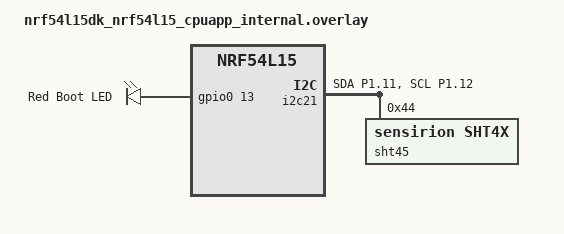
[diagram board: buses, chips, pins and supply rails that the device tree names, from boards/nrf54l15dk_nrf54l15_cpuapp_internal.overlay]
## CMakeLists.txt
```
cmake_minimum_required(VERSION 3.20.0)
list(APPEND BOARD_ROOT ${CMAKE_CURRENT_SOURCE_DIR}/..)
find_package(Zephyr HINTS $ENV{ZEPHYR_BASE})
project(hygrometer)
option(TIDY "Run clang-tidy during build" OFF)
if(TIDY)
  set_target_properties(app PROPERTIES
    C_CLANG_TIDY "clang-tidy"
    CXX_CLANG_TIDY "clang-tidy"
  )
endif()

# Define PINCTRL_STATE_OFF so the "off" pinctrl-names entry compiles.
# Must be visible to both our code and the I2C driver (which instantiates pinctrl).
zephyr_compile_definitions(PINCTRL_STATE_OFF=PINCTRL_STATE_PRIV_START)

target_include_directories(app PRIVATE src src/sensor)

# Shared sensor module (always built)
target_sources(app PRIVATE
  src/sensor/sensor_reading.cpp
)

# STCC4 CO2 sensor (2026v3 hardware)
target_sources_ifdef(CONFIG_STCC4_ENABLE app PRIVATE
  src/sensor/stcc4.cpp
)

# Leak sensor (2026v4 hardware)
target_sources_ifdef(CONFIG_APP_LEAK_SENSOR app PRIVATE
  src/sensor/leak.cpp
)

if(CONFIG_APP_USE_MATTER)
  include(${ZEPHYR_CONNECTEDHOMEIP_MODULE_DIR}/config/nrfconnect/app/enable-gnu-std.cmake)
  include(${ZEPHYR_NRF_MODULE_DIR}/samples/matter/common/cmake/source_common.cmake)
  include(${ZEPHYR_NRF_MODULE_DIR}/samples/matter/common/cmake/data_model.cmake)
  include(${ZEPHYR_NRF_MODULE_DIR}/samples/matter/common/cmake/zap_helpers.cmake)
  ncs_get_zap_parent_dir(ZAP_PARENT_DIR)
  target_include_directories(app PRIVATE ${ZAP_PARENT_DIR})
  target_sources(app PRIVATE
    src/matter/main.cpp
    src/matter/app_task.cpp
  )
  # CO2 recalibration via Mode Select cluster (2026v3 / STCC4 only).
  # zcl_callbacks.cpp provides the MatterPostAttributeChangeCallback override; on
  # v4 the SDK's weak no-op default is used instead.
  target_sources_ifdef(CONFIG_APP_MATTER_CO2 app PRIVATE
    src/matter/co2_mode_manager.cpp
    src/matter/zcl_callbacks.cpp
  )
  ncs_configure_data_model()
else()
  target_sources(app PRIVATE
    src/bthome/main.cpp
    src/bthome/led_svc.cpp
  )
  # CO2 forced-recalibration GATT service — only useful with an STCC4 present.
  target_sources_ifdef(CONFIG_STCC4_ENABLE app PRIVATE
    src/bthome/co2_cal_svc.cpp
  )
endif()
```

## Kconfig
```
config APP_MEASUREMENT_INTERVAL_SEC
	int "Measurement interval (seconds)"
	default 300
	help
	  Time between periodic measurements. Device sleeps between readings.

config APP_CO2_INTERVAL_DIVISOR
	int "Only fetch STCC4 every Nth measurement cycle"
	default 1
	range 1 60
	help
	  STCC4 CO2 read cadence. Last-known values are reused in the
	  advertisements between fetches.

config APP_CO2_REPORT_DURING_CALIBRATION
	bool "Report CO2 readings during recalibration / factory-reset warm-up (debug)"
	default n
	depends on STCC4_ENABLE
	help
	  Diagnostic: keep publishing CO2 during the maintenance phases that normally
	  report unavailable — the FRC recalibration warm-up (single-shot) and the
	  post-factory-reset continuous warm-up — so the readings can be watched as
	  they converge. Testing only.

config APP_CO2_RECAL_TARGET_PPM
	int "CO2 forced-recalibration target (ppm)"
	default 430
	range 350 600
	depends on STCC4_ENABLE
	help
	  Assumed outdoor-air CO2 concentration used as the FRC target by both the
	  Matter (Mode Select) and BTHome recalibration triggers. Any error here
	  biases every later reading by the same amount, so set it to the actual
	  clean outdoor air at your location. The default tracks the global average
	  (~430 ppm in 2026, rising ~2.5 ppm/yr); update it as the baseline drifts.
	  The BTHome characteristic can still override per-request with a 2-byte value.

config APP_CO2_WARMUP_MIN
	int "CO2 sensor warm-up after factory reset (minutes)"
	default 720
	range 0 1440
	depends on STCC4_ENABLE
	help
	  After a user-triggered STCC4 factory reset, run the sensor in continuous
	  measurement mode for this long to clear the bypass phase and reach accuracy
	  (datasheet §1.1.4: up to 12 h continuous). CO2 reads as unavailable during the
	  warm-up; it runs in the background (the Mode Select returns to Measure right
	  away). 0 disables the warm-up (conditioning only). Continuous mode draws
	  ~950 µA, so this is a one-time recovery cost, not the steady-state current.

config APP_PRESSURE_INTERVAL_DIVISOR
	int "Only fetch BME688 pressure every Nth measurement cycle"
	default 1
	range 1 360
	help
	  BME688 pressure read cadence, independent of STCC4. Cached pressure is
	  reused for STCC4 compensation and advertisements between fetches.

config SHT4X_ENABLE
	bool "Enable SHT4x sensor"
	default y
	select SENSOR
	help
	  Enable probing for and using temperature and humidity sensor, if hardware is present.

config SHT4X_USE_HEATER
	bool "Use the built-in heater on the SHT4x for increased accuracy at high RH levels"
	default n
	help
	  Maximum duty cycle for using the heater is 5%

config SHT4X_HEATER_HUMIDITY_THRESH
	int "RH [%] threshold above which the heater will be activated"
	range 0 99
	default 65
	depends on SHT4X_USE_HEATER

config SHT4X_HEATER_PULSE_POWER
	int "Heater Power Setting"
	range 0 2
	default 2
	depends on SHT4X_USE_HEATER
	help
	  0 -> High power heater pulse -> ~200 mW  @3.3V
	  1 -> Medium power heater pulse -> ~110 mW  @3.3V
	  2 -> Low power heater pulse -> ~20 mW  @3.3V

config SHT4X_HEATER_LONG_PULSE_DURATION
	bool "Use long pulse duration Heater setting"
	default y
	depends on SHT4X_USE_HEATER
	help
	  Say 'Y' if you want to use the long pulse duration setting. This sets the pulse time to
	  1.1s. Say 'N' if you want to use the short pulse duration setting, which sets the pulse
	  time to 0.11s.

config BME688_ENABLE
	bool "Enable BME688 sensor"
	default y
	select SENSOR
	help
	  Enable probing for and using pressure and gas sensor, if hardware is present.

config STCC4_ENABLE
	bool "Enable STCC4 sensor"
	default y
	select SENSOR
	help
	  Enable probing for and using CO2 sensor, if hardware is present.

config APP_LEAK_SENSOR
	bool "Enable resistive water-leak sensor"
	default n
	select GPIO
	select ADC
	help
	  Drive/sense a resistive leak sensor (2026v4 hardware). Requires a
	  "local,leak-sensor" node in devicetree. A strong (low-resistance) wet
	  bridge across the electrodes triggers a GPIO interrupt that wakes the
	  device immediately; every measurement cycle also samples the sense
	  divider with the SAADC so a software threshold can catch high-resistance
	  (damp, ~1 MΩ) conditions the digital edge misses.

config APP_LEAK_THRESHOLD_MV
	int "Leak sense trip threshold (mV)"
	default 1200
	depends on APP_LEAK_SENSOR
	help
	  The sense node is a divider:
	    V_sense = V_drive * R3 / (R1 + R2 + R_water + R3)
	  with R1 = R2 = 10 kΩ, R3 = 1 MΩ. At V_drive ≈ 3.0 V (the GPIO drive ≈
	  the CR2 supply), a dry/open gap sits near 0 V, 1 MΩ of water gives
	  ≈ 1.49 V and 1.5 MΩ gives ≈ 1.20 V. The sensor reports WET when the
	  sampled sense voltage is at or above this many millivolts; the 1200 mV
	  default trips at R_water ≈ 1.5 MΩ, comfortably covering the 1 MΩ target.
	  Lower = more sensitive (detects higher water resistance) but closer to
	  the dry-state noise floor. Confirm against bench measurements.

config APP_BUZZER
	bool "Enable leak buzzer/siren output"
	default n
	depends on APP_LEAK_SENSOR
	help
	  Drive the buzzer/siren (2026v4 P2.05) on leak detection. Not yet
	  implemented — reserved for a future audible-alarm feature.

config APP_USE_MATTER
	bool "Use Matter/Thread instead of BTHome BLE"
	default n
	help
	  Build the Matter end-device variant.

# Advertised BLE name, selected by board revision so it matches the product identity
# (the @2026v4 leak board sets APP_LEAK_SENSOR). Applies to both the BTHome and Matter
# variants. BT_DEVICE_NAME is a Zephyr symbol (sourced via Kconfig.zephyr below); our
# default is parsed first and wins, as long as no .conf hard-assigns it.
config BT_DEVICE_NAME
	default "Leak Detector" if APP_LEAK_SENSOR
	default "Hygrometer"

if APP_USE_MATTER

# Per-board-revision data model: each flag gates the matching cluster in both the app
# code and the selected .zap (see prj_extra_matter_v{3,4}.conf). Temperature, humidity
# and battery (Power Source) are present on every revision, so they have no flag.

config APP_MATTER_PRESSURE
	bool "Expose BME688 pressure over Matter (PressureMeasurement)"
	default y if BME688_ENABLE
	help
	  Set for boards with a BME688 (2026v3). The v3 data model includes the
	  Pressure Measurement cluster on endpoint 1. Defaults on when the BME688 is
	  enabled (off on @2026v4, which disables BME688_ENABLE).

config APP_MATTER_CO2
	bool "Expose STCC4 CO2 over Matter (CarbonDioxideConcentrationMeasurement)"
	default y if STCC4_ENABLE
	help
	  Set for boards with an STCC4 (2026v3). Gates the CO2 concentration cluster
	  instance; must match the selected .zap or cluster registration fails at init.
	  Keyed off STCC4_ENABLE (STCC4 has no DT node — it is raw I2C on the BME688
	  bus), which @2026v4 disables, so this tracks the selected v3/v4 zap.

config APP_MATTER_LEAK
	bool "Expose water leak over Matter (Boolean State / Water Leak Detector)"
	default y if APP_LEAK_SENSOR
	depends on APP_LEAK_SENSOR
	help
	  Set for boards with the resistive leak sensor (2026v4). The v4 data model
	  adds a Water Leak Detector endpoint (Boolean State); a leak is reported
	  immediately via the leak-sensor interrupt. APP_LEAK_SENSOR (set only by the
	  @2026v4 board) selects the leak variant.

config APP_MATTER_BATTERY_PERCENT
	bool "Expose battery percentage over Matter (Power Source BatPercentRemaining)"
	default y if $(dt_nodelabel_enabled,npm2100_vbat)
	help
	  Set for boards with a real fuel gauge (nPM2100, 2026v3) where a charge
	  percentage is meaningful. Boards on a flat CR2 curve (2026v4) report only
	  the coarse BatChargeLevel and omit this attribute from their data model.

choice OPENTHREAD_NORDIC_LIBRARY_CONFIGURATION
	default OPENTHREAD_NORDIC_LIBRARY_MTD
endchoice

choice OPENTHREAD_DEVICE_TYPE
	default OPENTHREAD_MTD
endchoice

config CHIP_ENABLE_ICD_SUPPORT
	default y

config CHIP_ICD_LIT_SUPPORT
	default y

config CHIP_ICD_REPORT_ON_ACTIVE_MODE
	default y

# Reduce Thread TX output power to 0 dBm for SED device
config OPENTHREAD_DEFAULT_TX_POWER
	default 0

# Per-revision Matter identity + data model, selected by the board. The @2026v4 board
# sets APP_LEAK_SENSOR, flipping everything to the leak (v4) variant; every other board
# builds the air-quality (v3) variant. Both PIDs sit inside the built-in test CD's
# 0x8000-0x8063 range, so no certificate work is needed. NCS defines these symbols in the
# Kconfigs sourced below; our defaults are parsed first and therefore take priority.
config CHIP_DEVICE_PRODUCT_ID
	default 32781 if APP_LEAK_SENSOR
	default 32780

config CHIP_DEVICE_PRODUCT_NAME
	default "Water Leak Sensor" if APP_LEAK_SENSOR
	default "Hygrometer"

config NCS_SAMPLE_MATTER_ZAP_FILE_PATH
	default "${APPLICATION_CONFIG_DIR}/src/default_zap/v4/hygrometer.zap" if APP_LEAK_SENSOR
	default "${APPLICATION_CONFIG_DIR}/src/default_zap/v3/hygrometer.zap"

source "$(ZEPHYR_CONNECTEDHOMEIP_MODULE_DIR)/config/nrfconnect/chip-module/Kconfig.features"
source "$(ZEPHYR_CONNECTEDHOMEIP_MODULE_DIR)/config/nrfconnect/chip-module/Kconfig.defaults"
source "$(ZEPHYR_NRF_MODULE_DIR)/samples/matter/common/src/Kconfig"

endif # APP_USE_MATTER

source "Kconfig.zephyr"
```

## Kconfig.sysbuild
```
#### Bootloader
choice BOOTLOADER
	default BOOTLOADER_MCUBOOT
endchoice

if BOOTLOADER_MCUBOOT

# MCUboot padding size
config PM_MCUBOOT_PAD
	default 0x800

endif # BOOTLOADER_MCUBOOT

source "share/sysbuild/Kconfig"
```

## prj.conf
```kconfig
# Application features
CONFIG_APP_MEASUREMENT_INTERVAL_SEC=10

# BLE
CONFIG_BT=y
# CONFIG_BT_DEVICE_NAME is selected per board revision in Kconfig (see BT_DEVICE_NAME).
CONFIG_BT_PERIPHERAL=y

# PMIC support (nPM2100 on hygrometer board, nPM1304 on devkit)
CONFIG_MFD=y
CONFIG_WATCHDOG=y
CONFIG_REGULATOR=y
CONFIG_NRF_FUEL_GAUGE=y

# Enable sensors and I2C bus
CONFIG_SENSOR=y
CONFIG_GPIO=y
CONFIG_I2C=y
CONFIG_PINCTRL=y
CONFIG_PINCTRL_DYNAMIC=y
CONFIG_SHT4X=y
CONFIG_SHT4X_USE_HEATER=n
CONFIG_FPU=y

# GRTC timer
CONFIG_NRF_GRTC_TIMER=y

# Suspend devices when the CPU goes into sleep
CONFIG_PM=y
CONFIG_PM_DEVICE=y
CONFIG_PM_DEVICE_RUNTIME=y

# Power down unused SRAM sections
CONFIG_RAM_POWER_DOWN_LIBRARY=y

# Safety
CONFIG_MPU_STACK_GUARD=y

# Memory footprint
CONFIG_HEAP_MEM_POOL_SIZE=1024
CONFIG_IDLE_STACK_SIZE=256

# MCUmgr OTA DFU over BLE
CONFIG_MCUMGR=y
CONFIG_MCUMGR_TRANSPORT_BT=y
CONFIG_MCUMGR_TRANSPORT_BT_REASSEMBLY=y
CONFIG_BT_L2CAP_TX_MTU=247
CONFIG_BT_BUF_ACL_TX_SIZE=251
CONFIG_BT_BUF_ACL_RX_SIZE=251
CONFIG_MCUMGR_GRP_IMG=y
CONFIG_MCUMGR_GRP_OS=y
CONFIG_MCUMGR_GRP_OS_BOOTLOADER_INFO=y
CONFIG_IMG_MANAGER=y
CONFIG_IMG_ERASE_PROGRESSIVELY=y
CONFIG_STREAM_FLASH=y
CONFIG_FLASH=y
CONFIG_FLASH_MAP=y
CONFIG_CRC=y
CONFIG_NET_BUF=y
CONFIG_ZCBOR=y
CONFIG_BOOTLOADER_MCUBOOT=y

# Stacks
CONFIG_MAIN_STACK_SIZE=4096
CONFIG_SYSTEM_WORKQUEUE_STACK_SIZE=2048

# Reduce image size
CONFIG_SIZE_OPTIMIZATIONS=y
CONFIG_LTO=y
CONFIG_ISR_TABLES_LOCAL_DECLARATION=y
```

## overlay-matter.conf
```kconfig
# nRF54 Humidity Sensor — Matter/Thread build
# Activated via: -DFILE_SUFFIX=matter

CONFIG_APP_USE_MATTER=y

# Enable CHIP (Matter)
CONFIG_CHIP=y
CONFIG_CHIP_PROJECT_CONFIG="src/matter/chip_project_config.h"
CONFIG_CHIP_DEVICE_PRODUCT_NAME="Hygrometer"
CONFIG_NCS_SAMPLE_MATTER_ZAP_FILE_PATH="${APPLICATION_CONFIG_DIR}/src/default_zap/hygrometer.zap"
CONFIG_CHIP_DEVICE_PRODUCT_ID=32781
CONFIG_STD_CPP17=y

# Enable Matter pairing automatically on application start.
CONFIG_CHIP_ENABLE_PAIRING_AUTOSTART=y

# BLE advertising duration (minutes, max 15 without extended advertising)
CONFIG_CHIP_BLE_ADVERTISING_DURATION=15

# Bluetooth Low Energy configuration
CONFIG_BT_DEVICE_NAME="Hygrometer"
CONFIG_BT_DEVICE_NAME_MAX=18

# Reduce application size
CONFIG_CHIP_NFC_ONBOARDING_PAYLOAD=n

# Enable Factory Data feature
CONFIG_CHIP_FACTORY_DATA=y
CONFIG_CHIP_FACTORY_DATA_BUILD=y

# MCUboot (required for Matter OTA)
CONFIG_BOOTLOADER_MCUBOOT=y
CONFIG_FLASH=y
CONFIG_FLASH_MAP=y
CONFIG_NET_BUF=y

# Stack sizes for Matter
CONFIG_MAIN_STACK_SIZE=8192
CONFIG_SYSTEM_WORKQUEUE_STACK_SIZE=4096
CONFIG_HEAP_MEM_POOL_SIZE=16384
```

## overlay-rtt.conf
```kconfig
# RTT logging
# Usage: west build ... --extra-conf overlay-rtt.conf
CONFIG_USE_SEGGER_RTT=y
CONFIG_RTT_CONSOLE=y
CONFIG_CONSOLE=y
CONFIG_UART_CONSOLE=n

CONFIG_LOG=y
CONFIG_LOG_MODE_DEFERRED=y
CONFIG_LOG_PROCESS_THREAD_SLEEP_MS=10
CONFIG_LOG_BUFFER_SIZE=4096
CONFIG_SEGGER_RTT_BUFFER_SIZE_UP=4096
CONFIG_LOG_BACKEND_RTT=y

# Shell over RTT
CONFIG_SHELL=y
CONFIG_SHELL_BACKEND_RTT=y
CONFIG_SHELL_BACKEND_RTT_BUFFER=1
CONFIG_SHELL_BACKEND_SERIAL=n
```

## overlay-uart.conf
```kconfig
# Usage: west build ... --extra-conf overlay-uart.conf

# Console for debugging
CONFIG_CONSOLE=y
CONFIG_UART_CONSOLE=y

# Configure UART async logging and shell
CONFIG_LOG=y
CONFIG_LOG_MODE_DEFERRED=y
CONFIG_LOG_PROCESS_THREAD_STACK_SIZE=1024
CONFIG_LOG_BUFFER_SIZE=4096
CONFIG_LOG_FUNC_NAME_PREFIX_DBG=n
CONFIG_SHELL=y
CONFIG_SHELL_LOG_BACKEND=y
```

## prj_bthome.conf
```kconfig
# nRF54 Humidity Sensor — BTHome build
# Activated via: -DFILE_SUFFIX=bthome
```

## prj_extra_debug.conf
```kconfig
# Kconfig overlay for debug build with extra stuff
# Usage: west build -- -DEXTRA_CONF_FILE=prj_extra_debug.conf

# Application features

CONFIG_APP_CO2_REPORT_DURING_CALIBRATION=y
CONFIG_BME688_ENABLE=n
```

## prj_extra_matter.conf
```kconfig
# Kconfig overlay for Matter over Thread (replaces default of BTHome)
# Usage: west build -- -DEXTRA_CONF_FILE=prj_extra_matter.conf -DSB_EXTRA_CONF_FILE=sysbuild_extra_matter.conf

CONFIG_APP_USE_MATTER=y

# Enable CHIP (Matter)
CONFIG_CHIP=y
CONFIG_CHIP_FACTORY_DATA=y
CONFIG_CHIP_PROJECT_CONFIG="src/matter/chip_project_config.h"
# Product identity (CONFIG_CHIP_DEVICE_PRODUCT_ID / _PRODUCT_NAME) and the data model
# (CONFIG_NCS_SAMPLE_MATTER_ZAP_FILE_PATH) are selected automatically per board revision
# in the Kconfig

CONFIG_STD_CPP17=y

# Enable Matter pairing automatically on application start.
CONFIG_CHIP_ENABLE_PAIRING_AUTOSTART=y

# Button and LED support (2026v3 has the user button and red LED; 2026v4 has
# neither — its overlay disables &leds, so LED calls are harmless no-ops there).
# Without this the NCS Matter board layer compiles to a stub: no factory reset
# via button hold and no LED control. Default button behavior: short tap starts
# commissioning advertising when not yet commissioned; ~6s hold factory resets
# (red LED warns from ~3s, release to cancel).
CONFIG_DK_LIBRARY=y

# BLE advertising duration (minutes, max 15 without extended advertising)
CONFIG_CHIP_BLE_ADVERTISING_DURATION=15

# Reduce application size
CONFIG_CHIP_NFC_ONBOARDING_PAYLOAD=n

# Stack sizes for Matter
CONFIG_MAIN_STACK_SIZE=8192
CONFIG_SYSTEM_WORKQUEUE_STACK_SIZE=4096
CONFIG_HEAP_MEM_POOL_SIZE=16384
```

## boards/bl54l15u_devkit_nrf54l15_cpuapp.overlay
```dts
#include <dt-bindings/regulator/npm13xx.h>

/* Enable LDO1 in load switch mode at boot to power the Qwiic J1 connector */
&npm1304_ldo1 {
    regulator-boot-on;
    regulator-initial-mode = <NPM13XX_LDSW_MODE_LDSW>;
};

&i2c21 {
    status = "okay";

    sht4x: sht4x@44 {
        compatible = "sensirion,sht4x";
        reg = <0x44>;
        repeatability = <2>;
        status = "okay";
    };
};
```

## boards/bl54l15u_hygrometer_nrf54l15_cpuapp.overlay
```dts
#include <dt-bindings/regulator/npm2100.h>

/ {
	aliases {
		boot-led = &red_led;
	};

	/* Matter's DK button library requires a /buttons gpio-keys node. The v4
	 * board has no user button, so keep an empty node here (applies to every
	 * revision); the 2026v3 board overlay adds the actual P0.04 button as the
	 * first child (DK_BTN1). */
	buttons {
		compatible = "gpio-keys";
	};
};

/* Enable LDOSW in load-switch mode at boot so I2C20 sensors (BME688/STCC4) are
 * powered for probing. sensor_init() disables it if no sensors are detected.
 * Use ULP mode, the default high-power mode can burn 2mA+ even with no load. */
&npm2100_ldsw {
	regulator-boot-on;
	regulator-initial-mode = < (NPM2100_REG_LDSW_EN | NPM2100_REG_OPER_ULP) >;
};

/* Enable Bluetooth */
&bt_hci_controller {
	status = "okay";
};
```

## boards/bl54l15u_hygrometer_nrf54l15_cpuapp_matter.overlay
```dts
#include <dt-bindings/regulator/npm2100.h>

/ {
	aliases {
		boot-led = &red_led;
	};

	/* Matter DK_LIBRARY requires a buttons node with gpio-keys compatible.
	 * The hygrometer has no GPIO buttons (SHPHLD is PMIC-level), so provide
	 * an empty node to satisfy the build. */
	buttons {
		compatible = "gpio-keys";
	};
};


/* Enable load switch mode at boot to power the BME688/STCC4/Qwiic connector */
&npm2100_ldsw {
    regulator-boot-on;
    regulator-initial-mode = < NPM2100_REG_LDSW_EN >;
};
```

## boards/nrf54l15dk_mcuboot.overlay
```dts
/*
 * MCUboot image: the same flash map as the application. The stock DK ships a 64 KiB
 * boot_partition, which MCUboot's nRF54L FPROTECT rejects (>62 KiB;
 * bootloader/mcuboot/boot/zephyr/main.c). Our custom boards bake this layout into their
 * board DTS so their MCUboot image inherits it; the stock DK gets it here, wired in for
 * this board only by sysbuild.cmake. The dtsi sets the RRAM size and drops the stock
 * partitions itself.
 */
#include "../../boards/local/bl54l15u_partitions.dtsi"
```

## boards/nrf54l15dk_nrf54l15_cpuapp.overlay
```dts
/* Stock nrf54l15dk: app peripherals; the partition + full-RRAM map comes from
 * bl54l15u_partitions.dtsi (MCUboot gets the same file via sysbuild.cmake). */
#include "../../boards/local/bl54l15u_partitions.dtsi"

/* Reclaim the SRAM the stock DK reserves for FLRP (RRAM is reclaimed in the dtsi). */
&cpuapp_sram {
	reg = <0x20000000 DT_SIZE_K(256)>;
	ranges = <0x0 0x20000000 0x40000>;
};

/* I2C for SHT4x humidity/temperature sensor */
&i2c21 {
	status = "okay";
	pinctrl-0 = <&i2c21_default>;
	pinctrl-1 = <&i2c21_sleep>;
	pinctrl-names = "default", "sleep";

	sht4x: sht4x@44 {
		compatible = "sensirion,sht4x";
		reg = <0x44>;
		repeatability = <2>;
		status = "okay";
	};
};

&pinctrl {
	i2c21_default: i2c21_default {
		group1 {
			psels = <NRF_PSEL(TWIM_SDA, 1, 11)>, <NRF_PSEL(TWIM_SCL, 1, 12)>;
			bias-pull-up;
		};
	};

	i2c21_sleep: i2c21_sleep {
		group1 {
			psels = <NRF_PSEL(TWIM_SDA, 1, 11)>, <NRF_PSEL(TWIM_SCL, 1, 12)>;
			low-power-enable;
		};
	};
};

/* Keep UART20 for console (it's the default console) */
&uart20 {
	status = "okay";
	current-speed = <115200>;
};

/* Disable unused peripherals to save power */
&uart21 {
	status = "disabled";
};

&uart22 {
	status = "disabled";
};

&uart30 {
	status = "disabled";
};
```

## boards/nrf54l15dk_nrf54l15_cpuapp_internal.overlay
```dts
/* Internal flash overlay for nRF54L15 DK */
/* For release builds, add nrf54l15dk_nrf54l15_cpuapp_release.overlay to disable UART */

/* I2C for SHT45 humidity/temperature sensor */
&i2c21 {
	status = "okay";
	pinctrl-0 = <&i2c21_default>;
	pinctrl-1 = <&i2c21_sleep>;
	pinctrl-names = "default", "sleep";

	sht45: sht4x@44 {
		compatible = "sensirion,sht4x";
		reg = <0x44>;
		repeatability = <2>;
		status = "okay";
	};
};

&pinctrl {
	i2c21_default: i2c21_default {
		group1 {
			psels = <NRF_PSEL(TWIM_SDA, 1, 11)>, <NRF_PSEL(TWIM_SCL, 1, 12)>;
			bias-pull-up;
		};
	};

	i2c21_sleep: i2c21_sleep {
		group1 {
			psels = <NRF_PSEL(TWIM_SDA, 1, 11)>, <NRF_PSEL(TWIM_SCL, 1, 12)>;
			low-power-enable;
		};
	};
};

/* UART20 enabled for debug builds - release.overlay disables it */

/* Disable unused UARTs */
&uart21 {
	status = "disabled";
};

&uart22 {
	status = "disabled";
};

&uart30 {
	status = "disabled";
};

/* Disable SPI00 and external flash - using internal RRAM */
&spi00 {
	status = "disabled";
};

/* Disable NFC - not needed */
&nfct {
	status = "disabled";
};

/* Disable ADC - not needed */
&adc {
	status = "disabled";
};

/* Disable PWM - not needed */
&pwm20 {
	status = "disabled";
};

/* Disable buttons - the internal pull-ups draw current */
/ {
	buttons {
		status = "disabled";
	};
	leds {
		status = "disabled";
	};
};

/* Boot status RED LED on P0.13 (active high) */
/ {
	boot_led: boot_led {
		compatible = "gpio-leds";
		red_led: red_led {
			gpios = <&gpio0 13 GPIO_ACTIVE_HIGH>;
			label = "Red Boot LED";
		};
	};

	aliases {
		boot-led = &red_led;
	};
};

// restore full RRAM and SRAM space - by default some parts are dedicated to FLRP
&cpuapp_rram {
	reg = <0x0 DT_SIZE_K(1524)>;
};

&cpuapp_sram {
	reg = <0x20000000 DT_SIZE_K(256)>;
	ranges = <0x0 0x20000000  0x40000>;
};

// Disable external flash
&mx25r64 {
	status = "disabled";
};
```

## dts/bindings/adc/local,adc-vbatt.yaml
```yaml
description: |
  Battery-voltage source measured directly by an ADC channel (no PMIC fuel
  gauge). Points at a single ADC io-channel; the firmware converts the sampled
  voltage to a state-of-charge estimate.

compatible: "local,adc-vbatt"

include: base.yaml

properties:
  io-channels:
    type: phandle-array
    required: true
    description: ADC channel that measures the battery/supply voltage.
```

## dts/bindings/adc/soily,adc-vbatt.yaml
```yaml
description: |
  Battery-voltage source measured directly by an ADC channel (no PMIC fuel
  gauge). Points at a single ADC io-channel; the firmware converts the sampled
  voltage to a state-of-charge estimate.

compatible: "soily,adc-vbatt"

include: base.yaml

properties:
  io-channels:
    type: phandle-array
    required: true
    description: ADC channel that measures the battery/supply voltage.
```

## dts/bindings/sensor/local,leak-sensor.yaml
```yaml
description: |
  Resistive water-leak sensor.

  Two electrodes separated by a gap. One is driven high (drive-gpios) and the
  other (sense-gpios) is read back through a pull-down: water bridging the gap
  raises the sense line. The sense GPIO supports interrupts so the device can
  wake immediately when a strong (low-resistance) leak appears.

  The same sense node is also wired to an SAADC channel (io-channels) so the
  firmware can sample its analog voltage and apply a software threshold, which
  resolves high-resistance (damp, ~1 MΩ) leaks that fall below the digital GPIO
  high threshold.

compatible: "local,leak-sensor"

properties:
  drive-gpios:
    type: phandle-array
    required: true
    description: Output that energises the leak electrode.

  sense-gpios:
    type: phandle-array
    required: true
    description: Input read across the water gap (pull-down when dry).

  io-channels:
    type: phandle-array
    required: true
    description: SAADC channel sampling the sense divider (analog leak level).
```

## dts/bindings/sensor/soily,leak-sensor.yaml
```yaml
description: |
  Resistive water-leak sensor.

  Two electrodes separated by a gap. One is driven high (drive-gpios) and the
  other (sense-gpios) is read back through a pull-down: water bridging the gap
  raises the sense line. The sense GPIO supports interrupts so the device can
  wake immediately when a strong (low-resistance) leak appears.

  The same sense node is also wired to an SAADC channel (io-channels) so the
  firmware can sample its analog voltage and apply a software threshold, which
  resolves high-resistance (damp, ~1 MΩ) leaks that fall below the digital GPIO
  high threshold.

compatible: "soily,leak-sensor"

properties:
  drive-gpios:
    type: phandle-array
    required: true
    description: Output that energises the leak electrode.

  sense-gpios:
    type: phandle-array
    required: true
    description: Input read across the water gap (pull-down when dry).

  io-channels:
    type: phandle-array
    required: true
    description: SAADC channel sampling the sense divider (analog leak level).
```

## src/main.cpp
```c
// Hygrometer firmware
//
// Supports both BL54L15u Hygrometer and BL54L15u DevKit boards.
// Reads SHT45 (temp/humidity), optional BME688 (pressure), optional STCC4 (CO2).
//
// Simple loop architecture: always-on, always connectable, sleeps between readings.

#include <zephyr/device.h>
#include <zephyr/drivers/watchdog.h>
#include <zephyr/drivers/i2c.h>
#include <zephyr/drivers/sensor.h>
#include <zephyr/init.h>

#include <zephyr/bluetooth/bluetooth.h>
#include <zephyr/bluetooth/conn.h>
#include <zephyr/bluetooth/uuid.h>

#if DT_NODE_HAS_STATUS(DT_NODELABEL(npm1304_charger), okay)
#include <zephyr/drivers/sensor/npm13xx_charger.h>
#include <zephyr/drivers/mfd/npm13xx.h>
#endif

#include <zephyr/logging/log.h>

#if IS_ENABLED(CONFIG_NRF_FUEL_GAUGE)
#include <nrf_fuel_gauge.h>
#endif

#include "bthome.h"
#include "sht4x.h"
#include "stcc4.h"

LOG_MODULE_REGISTER(app, LOG_LEVEL_INF);

/* Select PMIC watchdog based on which board is active */
#if DT_NODE_HAS_STATUS(DT_NODELABEL(npm2100_wdt), okay)
#define PMIC_WDT_NODE DT_NODELABEL(npm2100_wdt)
#define PMIC_NAME     "nPM2100"
#elif DT_NODE_HAS_STATUS(DT_NODELABEL(npm1304_wdt), okay)
#define PMIC_WDT_NODE DT_NODELABEL(npm1304_wdt)
#define PMIC_NAME     "nPM1304"
#endif

/* SMP service UUID (8d53dc1d-1db7-4cd3-868b-8a527460aa84) in little-endian */
#define SMP_SVC_UUID_BYTES                                                                         \
	0x84, 0xaa, 0x60, 0x74, 0x52, 0x8a, 0x8b, 0x86, 0xd3, 0x4c, 0xb7, 0x1d, 0x1d, 0xdc, 0x53,  \
		0x8d

/* Connectable advertising parameters */
#define ADV_PARAM_CONN                                                                             \
	BT_LE_ADV_PARAM(BT_LE_ADV_OPT_USE_IDENTITY | BT_LE_ADV_OPT_CONN,                           \
			BT_GAP_PER_ADV_SLOW_INT_MIN, BT_GAP_PER_ADV_SLOW_INT_MAX, NULL)

static struct bt_data ad[] = {
	BT_DATA_BYTES(BT_DATA_FLAGS, BT_LE_AD_GENERAL | BT_LE_AD_NO_BREDR),
	BT_DATA(BT_DATA_NAME_COMPLETE, CONFIG_BT_DEVICE_NAME, sizeof(CONFIG_BT_DEVICE_NAME) - 1),
	BT_DATA(BT_DATA_SVC_DATA16, NULL, 0), /* len updated before adv */
};

/* Scan response — SMP service UUID for DFU */
static struct bt_data sd[] = {
	BT_DATA_BYTES(BT_DATA_UUID128_ALL, SMP_SVC_UUID_BYTES),
};

/* ---- Sensor availability flags ---- */
static bool have_bme688;
static bool have_stcc4;

/* ---- Device pointers ---- */
#if DT_NODE_HAS_STATUS(DT_NODELABEL(sht45), okay)
static const struct device *sht45 = DEVICE_DT_GET(DT_NODELABEL(sht45));
#endif

/* Optional sensor bus (i2c20 on hygrometer — carries BME688 + STCC4) */
#if DT_NODE_HAS_STATUS(DT_NODELABEL(bme688), okay)
#define HAVE_SENSOR_BUS 1
static const struct device *bme688_dev = DEVICE_DT_GET(DT_NODELABEL(bme688));
static const struct device *sensor_bus = DEVICE_DT_GET(DT_BUS(DT_NODELABEL(bme688)));
#else
#define HAVE_SENSOR_BUS 0
#endif

/* Battery voltage sources */
#if DT_NODE_HAS_STATUS(DT_NODELABEL(npm2100_vbat), okay)
static const struct device *vbat_dev = DEVICE_DT_GET(DT_NODELABEL(npm2100_vbat));
#define HAVE_VBAT 1
#elif DT_NODE_HAS_STATUS(DT_NODELABEL(npm1304_charger), okay)
static const struct device *vbat_dev = DEVICE_DT_GET(DT_NODELABEL(npm1304_charger));
#define HAVE_VBAT 1
#else
#define HAVE_VBAT 0
#endif

/* SHT45 I2C bus for direct heater commands */
#if DT_NODE_HAS_STATUS(DT_NODELABEL(sht45), okay)
static const struct device *sht45_bus = DEVICE_DT_GET(DT_BUS(DT_NODELABEL(sht45)));
#endif

/* ---- Fuel gauge state ---- */
#if IS_ENABLED(CONFIG_NRF_FUEL_GAUGE)

#if IS_ENABLED(CONFIG_NRF_FUEL_GAUGE_VARIANT_SECONDARY_CELL)
static const struct battery_model battery_model = {
#include "battery_model.inc"
};
#elif IS_ENABLED(CONFIG_NRF_FUEL_GAUGE_VARIANT_PRIMARY_CELL)
static const struct battery_model_primary battery_model_primary = {
#include <battery_models/primary_cell/2SAAA_Alkaline.inc>
};
#endif

static int64_t fg_ref_time;
static bool fg_initialized;
static float fg_last_soc;
static float fg_last_v = 3.0f; /* safe defaults for idle_set before first measurement */
static float fg_last_t = 25.0f;

#endif /* CONFIG_NRF_FUEL_GAUGE */

/* ---- Helper: convert sensor_value to raw SHT4x ticks ---- */
static uint16_t temp_to_raw_ticks(const struct sensor_value *val)
{
	/* raw = (T + 45) * 65535 / 175, where T is in °C */
	int64_t micro = (int64_t)val->val1 * 1000000 + val->val2;
	return (uint16_t)(((micro + 45000000LL) * 65535LL) / 175000000LL);
}

static uint16_t hum_to_raw_ticks(const struct sensor_value *val)
{
	/* raw = (RH + 6) * 65535 / 125, where RH is in % */
	int64_t micro = (int64_t)val->val1 * 1000000 + val->val2;
	int64_t raw = ((micro + 6000000LL) * 65535LL) / 125000000LL;
	if (raw < 0) {
		raw = 0;
	}
	if (raw > 65535) {
		raw = 65535;
	}
	return (uint16_t)raw;
}

/*
 * Fire SHT4x heater via direct I2C for decontamination.
 */
#if IS_ENABLED(CONFIG_SHT4X_USE_HEATER) && DT_NODE_HAS_STATUS(DT_NODELABEL(sht45), okay)
static void sht4x_heater_pulse(void)
{
	int power = CONFIG_SHT4X_HEATER_PULSE_POWER;
	int duration = IS_ENABLED(CONFIG_SHT4X_HEATER_LONG_PULSE_DURATION) ? 0 : 1;

	uint8_t cmd = sht4x_heater_cmd[power][duration];
	int ret = i2c_write(sht45_bus, &cmd, 1, SHT4X_I2C_ADDR);

	if (ret) {
		LOG_ERR("SHT4x heater cmd failed: %d", ret);
		return;
	}

	k_sleep(K_MSEC(sht4x_heater_total_wait_ms[duration]));

	uint8_t buf[6];

	for (int attempt = 0; attempt < 10; attempt++) {
		ret = i2c_read(sht45_bus, buf, sizeof(buf), SHT4X_I2C_ADDR);
		if (ret == 0) {
			break;
		}
		k_sleep(K_MSEC(10));
	}
	if (ret) {
		LOG_WRN("SHT4x heater readback failed: %d", ret);
		return;
	}

	if (sht4x_crc8(&buf[0], 2) == buf[2] && sht4x_crc8(&buf[3], 2) == buf[5]) {
		struct sensor_value t, h;
		uint16_t raw_t = ((uint16_t)buf[0] << 8) | buf[1];
		uint16_t raw_h = ((uint16_t)buf[3] << 8) | buf[4];

		sht4x_raw_to_temp(raw_t, &t);
		sht4x_raw_to_humidity(raw_h, &h);
		LOG_INF("SHT4x heater readback: T=%d.%02d°C RH=%d.%02d%%", t.val1, t.val2 / 10000,
			h.val1, h.val2 / 10000);
	}
}
#endif

/* ---- Fuel gauge charge state update (nPM1304 / secondary cell only) ---- */
#if IS_ENABLED(CONFIG_NRF_FUEL_GAUGE_VARIANT_SECONDARY_CELL) &&                                    \
	DT_NODE_HAS_STATUS(DT_NODELABEL(npm1304_charger), okay)
static void charge_status_inform(int32_t chg_status)
{
	union nrf_fuel_gauge_ext_state_info_data info;

	if (chg_status & BIT(1)) {
		info.charge_state = NRF_FUEL_GAUGE_CHARGE_STATE_COMPLETE;
	} else if (chg_status & BIT(2)) {
		info.charge_state = NRF_FUEL_GAUGE_CHARGE_STATE_TRICKLE;
	} else if (chg_status & BIT(3)) {
		info.charge_state = NRF_FUEL_GAUGE_CHARGE_STATE_CC;
	} else if (chg_status & BIT(4)) {
		info.charge_state = NRF_FUEL_GAUGE_CHARGE_STATE_CV;
	} else {
		info.charge_state = NRF_FUEL_GAUGE_CHARGE_STATE_IDLE;
	}
	nrf_fuel_gauge_ext_state_update(NRF_FUEL_GAUGE_EXT_STATE_INFO_CHARGE_STATE_CHANGE, &info);
}
#endif

/* ---- Probe optional sensors at boot ---- */
static void probe_optional_sensors(void)
{
#if HAVE_SENSOR_BUS
	if (device_is_ready(bme688_dev)) {
		have_bme688 = true;
		LOG_INF("BME688 detected");
	} else {
		LOG_INF("BME688 not present — skipping");
	}

	if (device_is_ready(sensor_bus)) {
		stcc4_wake(sensor_bus);
		if (stcc4_probe(sensor_bus)) {
			have_stcc4 = true;
			LOG_INF("STCC4 detected");
		} else {
			LOG_INF("STCC4 not present — skipping");
		}
	}
#endif
}

/* ---- Read battery voltage and update fuel gauge ---- */
static bool read_battery_voltage(struct sensor_value *voltage)
{
#if HAVE_VBAT
	if (!device_is_ready(vbat_dev)) {
		return false;
	}

	int ret = sensor_sample_fetch(vbat_dev);
	if (ret) {
		LOG_WRN("Battery voltage fetch failed: %d", ret);
		return false;
	}

	ret = sensor_channel_get(vbat_dev, SENSOR_CHAN_GAUGE_VOLTAGE, voltage);
	if (ret) {
		LOG_WRN("Battery voltage get failed: %d", ret);
		return false;
	}

#if IS_ENABLED(CONFIG_NRF_FUEL_GAUGE)
	if (fg_initialized) {
		struct sensor_value sv_temp;
		float v = (float)voltage->val1 + (float)voltage->val2 / 1000000.f;
		float t, i;

#if IS_ENABLED(CONFIG_NRF_FUEL_GAUGE_VARIANT_SECONDARY_CELL)
		sensor_channel_get(vbat_dev, SENSOR_CHAN_GAUGE_TEMP, &sv_temp);
		t = (float)sv_temp.val1 + (float)sv_temp.val2 / 1000000.f;

		struct sensor_value sv_current;
		sensor_channel_get(vbat_dev, SENSOR_CHAN_GAUGE_AVG_CURRENT, &sv_current);
		/* Negate: Zephyr negative=discharging → library positive=discharging */
		i = -((float)sv_current.val1 + (float)sv_current.val2 / 1000000.f);

		/* Update charge state on change */
		static int32_t prev_chg = -1;
		struct sensor_value sv_status;
		sensor_channel_get(vbat_dev,
				   (enum sensor_channel)SENSOR_CHAN_NPM13XX_CHARGER_STATUS,
				   &sv_status);
		if (sv_status.val1 != prev_chg) {
			prev_chg = sv_status.val1;
			charge_status_inform(sv_status.val1);
		}
#elif IS_ENABLED(CONFIG_NRF_FUEL_GAUGE_VARIANT_PRIMARY_CELL)
		sensor_channel_get(vbat_dev, SENSOR_CHAN_DIE_TEMP, &sv_temp);
		t = (float)sv_temp.val1 + (float)sv_temp.val2 / 1000000.f;
		/* No current measurement for primary cell; use fixed estimate */
		i = 5.0e-3f;
#endif

		float delta = (float)k_uptime_delta(&fg_ref_time) / 1000.f;
		fg_last_soc = nrf_fuel_gauge_process(v, i, t, delta, nullptr);
		fg_last_v = v;
		fg_last_t = t;
		LOG_INF("BAT_%: %d%%", (int)fg_last_soc);
	}
#endif /* CONFIG_NRF_FUEL_GAUGE */

	return true;
#else
	return false;
#endif
}

/* ---- Fuel gauge init ---- */
static void fuel_gauge_init(void)
{
#if IS_ENABLED(CONFIG_NRF_FUEL_GAUGE) && HAVE_VBAT
	if (!device_is_ready(vbat_dev)) {
		LOG_WRN("VBAT device not ready — fuel gauge skipped");
		return;
	}

	struct sensor_value sv;
	struct nrf_fuel_gauge_init_parameters fg_params = {
		.opt_params = nullptr,
		.state = nullptr,
	};

	sensor_sample_fetch(vbat_dev);

	sensor_channel_get(vbat_dev, SENSOR_CHAN_GAUGE_VOLTAGE, &sv);
	fg_params.v0 = (float)sv.val1 + (float)sv.val2 / 1000000.f;
	fg_last_v = fg_params.v0;

#if IS_ENABLED(CONFIG_NRF_FUEL_GAUGE_VARIANT_SECONDARY_CELL)
	fg_params.model = &battery_model;

	sensor_channel_get(vbat_dev, SENSOR_CHAN_GAUGE_TEMP, &sv);
	fg_params.t0 = (float)sv.val1 + (float)sv.val2 / 1000000.f;
	fg_last_t = fg_params.t0;

	sensor_channel_get(vbat_dev, SENSOR_CHAN_GAUGE_AVG_CURRENT, &sv);
	fg_params.i0 = -((float)sv.val1 + (float)sv.val2 / 1000000.f);

	struct sensor_value sv_cc;
	sensor_channel_get(vbat_dev, SENSOR_CHAN_GAUGE_DESIRED_CHARGING_CURRENT, &sv_cc);
	float max_current = (float)sv_cc.val1 + (float)sv_cc.val2 / 1000000.f;
#elif IS_ENABLED(CONFIG_NRF_FUEL_GAUGE_VARIANT_PRIMARY_CELL)
	fg_params.model_primary = &battery_model_primary;

	sensor_channel_get(vbat_dev, SENSOR_CHAN_DIE_TEMP, &sv);
	fg_params.t0 = (float)sv.val1 + (float)sv.val2 / 1000000.f;
	fg_last_t = fg_params.t0;

	fg_params.i0 = 0.0f;
#endif

	int fg_ret = nrf_fuel_gauge_init(&fg_params, nullptr);
	if (fg_ret < 0) {
		LOG_ERR("Fuel gauge init failed: %d", fg_ret);
		return;
	}

#if IS_ENABLED(CONFIG_NRF_FUEL_GAUGE_VARIANT_SECONDARY_CELL)
	union nrf_fuel_gauge_ext_state_info_data fg_info;

	fg_info.charge_current_limit = max_current;
	nrf_fuel_gauge_ext_state_update(NRF_FUEL_GAUGE_EXT_STATE_INFO_CHARGE_CURRENT_LIMIT,
					&fg_info);

	fg_info.charge_term_current = max_current / 10.f;
	nrf_fuel_gauge_ext_state_update(NRF_FUEL_GAUGE_EXT_STATE_INFO_TERM_CURRENT, &fg_info);
#endif

	fg_initialized = true;
	LOG_INF("Fuel gauge initialized (%s)", nrf_fuel_gauge_version);
	fg_ref_time = k_uptime_get();
#endif /* CONFIG_NRF_FUEL_GAUGE && HAVE_VBAT */
}

/* ---- Update BTHome advertisement data ---- */
static void update_advertisement(opt_i16 temperature_mC, opt_u16 humidity_mPct, opt_u32 pressure_Pa,
				 opt_u16 co2_ppm, opt_u8 bat_soc, opt_u16 bat_mV)
{
	bthome_update_service_data(temperature_mC, humidity_mPct, pressure_Pa, co2_ppm, bat_soc,
				   bat_mV);
	ad[2] = (struct bt_data)BT_DATA(BT_DATA_SVC_DATA16, service_data,
					(uint8_t)service_data_len);

	/* Push updated data to the BLE stack */
	bt_le_adv_update_data(ad, ARRAY_SIZE(ad), sd, ARRAY_SIZE(sd));
}

/* ---- BLE advertising via work queue ---- */
static struct k_work advertise_work;

static void advertise(struct k_work *work)
{
	int rc = bt_le_adv_start(ADV_PARAM_CONN, ad, ARRAY_SIZE(ad), sd, ARRAY_SIZE(sd));
	if (rc) {
		LOG_ERR("Advertising failed to start (rc %d)", rc);
		return;
	}
	LOG_INF("Advertising started");
}

static void bt_ready(int err)
{
	if (err) {
		LOG_ERR("Bluetooth init failed: %d", err);
		return;
	}
	k_work_submit(&advertise_work);
}

/* ---- BLE connection callbacks ---- */
static void connected(struct bt_conn *conn, uint8_t err)
{
	LOG_DBG("Connected");
}

static void disconnected(struct bt_conn *conn, uint8_t reason)
{
	LOG_DBG("Disconnected (reason %u)", reason);
}

static void recycled(void)
{
	LOG_DBG("BLE connection recycled");
	k_work_submit(&advertise_work);
}

BT_CONN_CB_DEFINE(conn_cbs) = {
	.connected = connected,
	.disconnected = disconnected,
	.recycled = recycled,
};

int main()
{
	printk("\n\n=== Hygrometer ===\n");
#ifdef PMIC_NAME
	printk("PMIC: " PMIC_NAME "\n");
#endif

#if DT_NODE_HAS_STATUS(DT_NODELABEL(npm1304_pmic), okay)
	/* Set POF threshold to 3.1V for battery protection */
	const struct device *pmic = DEVICE_DT_GET(DT_NODELABEL(npm1304_pmic));
	if (device_is_ready(pmic)) {
		int ret = mfd_npm13xx_reg_write(pmic, 0x01, 0x06, 0x05);
		if (ret == 0) {
			LOG_INF("POF threshold set to 3.1V");
		} else {
			LOG_WRN("Failed to set POF threshold: %d", ret);
		}
	}
#endif

	/* Check PMIC watchdog */
#ifdef PMIC_WDT_NODE
	const struct device *wdt = DEVICE_DT_GET_OR_NULL(PMIC_WDT_NODE);
	if (wdt == nullptr) {
		LOG_ERR(PMIC_NAME " WDT not found in devicetree!");
	} else if (!device_is_ready(wdt)) {
		LOG_ERR(PMIC_NAME " WDT not ready — I2C issue?");
	} else {
		LOG_INF(PMIC_NAME " WDT ready");
	}
#endif

	probe_optional_sensors();
	fuel_gauge_init();

	/* Start BLE advertising */
	k_work_init(&advertise_work, advertise);
	update_advertisement(opt_i16_none(), opt_u16_none(), opt_u32_none(), opt_u16_none(),
			     opt_u8_none(), opt_u16_none());
	int err = bt_enable(bt_ready);
	if (err) {
		LOG_ERR("Bluetooth init failed (err %d)", err);
		return -1;
	}

	while (true) {
		opt_i16 temperature_mC;
		opt_u16 temperature_ticks;
		opt_u16 humidity_mPct;
		opt_u16 humidity_ticks;
		opt_u32 pressure_Pa;
		opt_u16 co2_ppm;
		opt_u8 bat_soc;
		opt_u16 bat_mV;
		struct sensor_value value;

		/* 1. Read SHT45 */
#if DT_NODE_HAS_STATUS(DT_NODELABEL(sht45), okay)
		if (device_is_ready(sht45)) {
			int ret = sensor_sample_fetch(sht45);

			if (ret == 0) {
				// Convert Celsius result to millicelsius
				sensor_channel_get(sht45, SENSOR_CHAN_AMBIENT_TEMP, &value);
				temperature_mC =
					opt_i16_some(value.val1 * 100 + value.val2 / 10000);
				temperature_ticks = opt_u16_some(temp_to_raw_ticks(&value));
				LOG_INF("SHT45: T=%d.%02d°C ", value.val1, value.val2 / 10000);

				// Convert relative humidity percentage to milliprecent
				sensor_channel_get(sht45, SENSOR_CHAN_HUMIDITY, &value);
				humidity_mPct = opt_u16_some(value.val1 * 100 + value.val2 / 10000);
				humidity_ticks = opt_u16_some(hum_to_raw_ticks(&value));
				LOG_INF("SHT45: RH=%d.%02d%%", value.val1, value.val2 / 10000);

#if IS_ENABLED(CONFIG_SHT4X_USE_HEATER)
				sht4x_heater_pulse();
#endif
			} else {
				LOG_ERR("SHT45 fetch failed: %d", ret);
			}
		}
#endif

		/* 2. STCC4: feed compensation + measure CO2 */
#if HAVE_SENSOR_BUS
		if (have_stcc4) {
			if (temperature_ticks.is_some && humidity_ticks.is_some) {
				stcc4_set_rht_compensation(sensor_bus, temperature_ticks.value,
							   humidity_ticks.value);
			}
			int ret = stcc4_measure(sensor_bus, &co2_ppm.value);
			if (ret == 0) {
				co2_ppm.is_some = true;
				LOG_INF("STCC4: CO2=%u ppm", co2_ppm.value);
			} else {
				LOG_WRN("STCC4 measure failed: %d", ret);
			}
		}
#endif

		/* 3. BME688: read pressure */
#if HAVE_SENSOR_BUS
		if (have_bme688) {
			int ret = sensor_sample_fetch(bme688_dev);
			if (ret == 0) {
				sensor_channel_get(bme688_dev, SENSOR_CHAN_PRESS, &value);
				pressure_Pa = opt_u32_some(value.val1 * 1000 + value.val2 / 1000);
				LOG_INF("BME688: P=%d.%03d kPa", value.val1, value.val2 / 1000);
			} else {
				LOG_WRN("BME688 fetch failed: %d", ret);
			}
		}
#endif

		/* 4. Read battery voltage (also updates fuel gauge SoC) */
		if (read_battery_voltage(&value)) {
			// Convert from micro volts to mV
			bat_mV = opt_u16_some(value.val1 * 1000 + value.val2 / 1000);
			LOG_INF("BAT_V: %d.%03dV", value.val1, value.val2 / 1000);
		}

		/* 5. Compute SoC for BTHome payload */
#if IS_ENABLED(CONFIG_NRF_FUEL_GAUGE)
		if (fg_initialized) {
			bat_soc = opt_u8_some(CLAMP((int)fg_last_soc, 0, 100));
		}
#endif

		/* 6. Update advertisement data */
		update_advertisement(temperature_mC, humidity_mPct, pressure_Pa, co2_ppm, bat_soc,
				     bat_mV);

		k_sleep(K_SECONDS(CONFIG_APP_MEASUREMENT_INTERVAL_SEC));
	}

	return 0;
}
```

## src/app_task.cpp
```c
#include "app_task.h"
#include "sht4x.h"

#include <app/server/Server.h>
#include <app/clusters/network-commissioning/network-commissioning.h>
#include <app/clusters/ota-requestor/BDXDownloader.h>
#include <app/clusters/ota-requestor/DefaultOTARequestor.h>
#include <app/clusters/ota-requestor/DefaultOTARequestorDriver.h>
#include <app/clusters/ota-requestor/DefaultOTARequestorStorage.h>
#include <app/clusters/ota-requestor/OTARequestorInterface.h>
#include <app/reporting/reporting.h>
#include <app/util/attribute-storage.h>
#include <app-common/zap-generated/attributes/Accessors.h>
#include <credentials/DeviceAttestationCredsProvider.h>
#include <credentials/examples/DeviceAttestationCredsExample.h>
#include <data-model-providers/codegen/Instance.h>
#include <inet/EndPointStateOpenThread.h>
#include <lib/core/CHIPError.h>
#include <lib/support/CodeUtils.h>
#include <platform/CHIPDeviceLayer.h>
#include <platform/nrfconnect/OTAImageProcessorImpl.h>
#include <platform/OpenThread/GenericNetworkCommissioningThreadDriver.h>
#include <platform/ThreadStackManager.h>
#include <platform/ConnectivityManager.h>

#include "zap-generated/endpoint_config.h"

#include <zephyr/drivers/sensor.h>
#include <zephyr/kernel.h>
#include <zephyr/logging/log.h>
#include <zephyr/sys/printk.h>

LOG_MODULE_REGISTER(app_task, CONFIG_CHIP_APP_LOG_LEVEL);

using namespace ::chip;
using namespace ::chip::DeviceLayer;

namespace {
chip::app::Clusters::NetworkCommissioning::InstanceAndDriver<
	chip::DeviceLayer::NetworkCommissioning::GenericThreadDriver> THREAD_NETWORK_DRIVER(0);

// OTA Requestor
chip::DefaultOTARequestorStorage sOTARequestorStorage;
chip::DeviceLayer::DefaultOTARequestorDriver sOTARequestorDriver;
chip::BDXDownloader sBDXDownloader;
chip::DefaultOTARequestor sOTARequestor;

struct k_work_delayable measure_work;
Sht4x sht4x;

void LockOpenThreadTask()
{
	ThreadStackMgr().LockThreadStack();
}

void UnlockOpenThreadTask()
{
	ThreadStackMgr().UnlockThreadStack();
}

CHIP_ERROR ConfigureThreadRole()
{
#if CHIP_DEVICE_CONFIG_THREAD_FTD
	return ConnectivityMgr().SetThreadDeviceType(ConnectivityManager::kThreadDeviceType_Router);
#elif CONFIG_CHIP_THREAD_SSED
    return ConnectivityMgr().SetThreadDeviceType(ConnectivityManager::kThreadDeviceType_SynchronizedSleepyEndDevice);
#elif CONFIG_OPENTHREAD_MTD_SED
    return ConnectivityMgr().SetThreadDeviceType(ConnectivityManager::kThreadDeviceType_SleepyEndDevice);
#else
    return ConnectivityMgr().SetThreadDeviceType(ConnectivityManager::kThreadDeviceType_MinimalEndDevice);
#endif
}

} // namespace

void AppTask::MeasureWorkPeriodic(struct k_work *work)
{
	int16_t temperature;
	uint16_t humidity;
	bool success = false;
	if (sht4x.Ready()) {

		// Read SHT4x sensor
		success = sht4x.Read(temperature, humidity);
	} else {
		LOG_DBG("Sht4x not ready");
	}

	// Update Matter attributes
	PlatformMgr().LockChipStack();
	if (success) {
		chip::app::Clusters::TemperatureMeasurement::Attributes::MeasuredValue::Set(
			1, chip::app::DataModel::Nullable<int16_t>(temperature));
		chip::app::Clusters::RelativeHumidityMeasurement::Attributes::MeasuredValue::Set(
			1, chip::app::DataModel::Nullable<uint16_t>(humidity));
	} else {
		// Set to null on error to indicate sensor unavailable
		chip::app::Clusters::TemperatureMeasurement::Attributes::MeasuredValue::Set(
			1, chip::app::DataModel::Nullable<int16_t>());
		chip::app::Clusters::RelativeHumidityMeasurement::Attributes::MeasuredValue::Set(
			1, chip::app::DataModel::Nullable<uint16_t>());
	}
	PlatformMgr().UnlockChipStack();

	k_work_schedule(&measure_work, K_SECONDS(CONFIG_APP_MEASUREMENT_INTERVAL_SEC));
}

CHIP_ERROR AppTask::Init()
{
	ReturnErrorOnFailure(PlatformMgr().InitChipStack());

	ReturnErrorOnFailure(ThreadStackMgr().InitThreadStack());

	ReturnErrorOnFailure(ConfigureThreadRole());

	THREAD_NETWORK_DRIVER.Init();

	chip::Credentials::SetDeviceAttestationCredentialsProvider(
		chip::Credentials::Examples::GetExampleDACProvider());

	static chip::CommonCaseDeviceServerInitParams initParams;

	chip::Inet::EndPointStateOpenThread::OpenThreadEndpointInitParam nativeParams;
	nativeParams.lockCb = LockOpenThreadTask;
	nativeParams.unlockCb = UnlockOpenThreadTask;
	nativeParams.openThreadInstancePtr = ThreadStackMgrImpl().OTInstance();
	initParams.endpointNativeParams = static_cast<void *>(&nativeParams);

	ReturnErrorOnFailure(initParams.InitializeStaticResourcesBeforeServerInit());

	initParams.dataModelProvider = chip::app::CodegenDataModelProviderInstance(initParams.persistentStorageDelegate);

	ReturnErrorOnFailure(chip::Server::GetInstance().Init(initParams));

	ConfigurationMgr().LogDeviceConfig();

	// Initialize OTA Requestor
	static chip::DeviceLayer::OTAImageProcessorImpl sOTAImageProcessor;
	sOTAImageProcessor.SetOTADownloader(&sBDXDownloader);
	sBDXDownloader.SetImageProcessorDelegate(&sOTAImageProcessor);
	sOTARequestorStorage.Init(chip::Server::GetInstance().GetPersistentStorage());
	sOTARequestor.Init(chip::Server::GetInstance(), sOTARequestorStorage, sOTARequestorDriver, sBDXDownloader);
	sOTARequestorDriver.Init(&sOTARequestor, &sOTAImageProcessor);
	chip::SetRequestorInstance(&sOTARequestor);

	// Initialize SHT4x driver
	ReturnErrorOnFailure(sht4x.Init());

	// Start measurement periodic after short delay
	// TODO only start once commissioned
	k_work_init_delayable(&measure_work, AppTask::MeasureWorkPeriodic);
	k_work_schedule(&measure_work, K_MSEC(500));

	return CHIP_NO_ERROR;
}

CHIP_ERROR AppTask::StartApp()
{
	ReturnErrorOnFailure(Init());

	LOG_INF("Matter server initialized");

	// Use current thread to drive CHIP event loop
	PlatformMgr().RunEventLoop();

	return CHIP_NO_ERROR;
}
```

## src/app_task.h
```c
#pragma once

#include <lib/core/CHIPError.h>

struct AppTask {
	static CHIP_ERROR StartApp();

private:
	static CHIP_ERROR Init();
	static void MeasureWorkPeriodic(struct k_work *work);
};
```

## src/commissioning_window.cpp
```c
#include <zephyr/kernel.h>

#ifdef CONFIG_SHELL

#include <app/server/CommissioningWindowManager.h>
#include <app/server/Server.h>
#include <lib/core/CHIPError.h>
#include <lib/support/CodeUtils.h>
#include <platform/CHIPDeviceLayer.h>

#include <zephyr/logging/log.h>
#include <zephyr/shell/shell.h>

LOG_MODULE_REGISTER(commissioning_window, CONFIG_CHIP_APP_LOG_LEVEL);

using namespace chip;
using namespace chip::DeviceLayer;

namespace {

static int OpenCommissioningWindowCommand(const struct shell *shell, size_t argc, char **argv)
{
	// Default timeout: 180 seconds (3 minutes)
	uint16_t timeout_seconds = 180;

	if (argc > 1) {
		timeout_seconds = static_cast<uint16_t>(atoi(argv[1]));
		if (timeout_seconds == 0 || timeout_seconds > 900) {
			shell_error(shell, "Invalid timeout. Use 1-900 seconds.");
			return -EINVAL;
		}
	}

	PlatformMgr().LockChipStack();

	auto &commissionMgr = Server::GetInstance().GetCommissioningWindowManager();

	// Open a basic commissioning window (uses existing device credentials)
	// This is simpler than enhanced mode and works well for multi-admin
	CHIP_ERROR err = commissionMgr.OpenBasicCommissioningWindow(
		System::Clock::Seconds16(timeout_seconds),
		CommissioningWindowAdvertisement::kDnssdOnly);

	PlatformMgr().UnlockChipStack();

	if (err == CHIP_NO_ERROR) {
		shell_print(shell, "Commissioning window opened for %d seconds", timeout_seconds);
		shell_print(shell, "Use existing device credentials to pair:");
		shell_print(shell, "  Setup PIN: 20202021");
		shell_print(shell, "  Discriminator: 3840");
		shell_print(shell, "");
		shell_print(shell, "From chip-tool, run:");
		shell_print(shell, "  chip-tool pairing onnetwork-long <node-id> 20202021 3840");
	} else {
		shell_error(shell, "Failed to open commissioning window: %" CHIP_ERROR_FORMAT, err.Format());
		return -EIO;
	}

	return 0;
}

SHELL_STATIC_SUBCMD_SET_CREATE(
	commissioning_cmds,
	SHELL_CMD_ARG(open, NULL,
		"Open commissioning window for multi-admin\n"
		"Usage: commissioning open [timeout_seconds]\n"
		"  timeout_seconds: 1-900 (default: 180)",
		OpenCommissioningWindowCommand, 1, 1),
	SHELL_SUBCMD_SET_END
);

SHELL_CMD_REGISTER(commissioning, &commissioning_cmds, "Commissioning window commands", NULL);

} // namespace

#endif // CONFIG_SHELL
```
